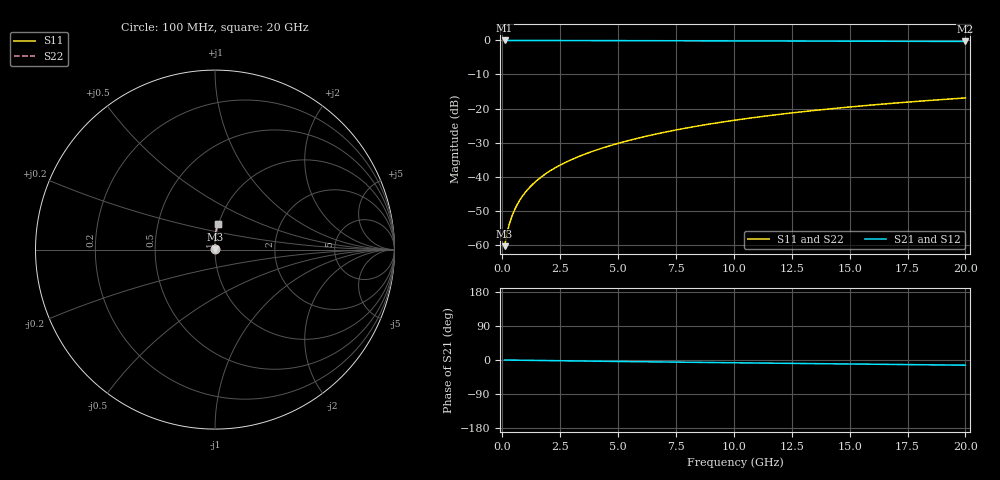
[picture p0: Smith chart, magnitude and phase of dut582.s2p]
! Touchstone file exported from HFSS 2024.1.0
!  File:  C:/UserFiles/LocalFiles/RDL_TSV_Batchsim/temp_RDL_top_582_1779682137.aedt
!  Generated:  12:11:06 PM May 25, 2026
!  Design:  RDL_top
!  Project:  temp_RDL_top_582_1779682137
!  Setup:  Setup1
!  Solution:  Sweep
! Variables:
!  dtsv = 10.80580581um
!  hbump = 3um
!  htsv = 90.43um
!  ldown = 100um
!  lrdl = 168.06um
!  p = 40
!  p1 = 53.16um
!  rhole = 1um
!  t = 450um
!  tdown = 3.915915916um
!  trdl = 4.45um
!  wdown = 15.38538539um
!  wrdl = 26.23um
# GHz S MA R 50.000000
! Terminal data exported
! Port[1] = Box2_T1
! Port[2] = Box2_T2
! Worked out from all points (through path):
!   200 points, 100 MHz to 20 GHz, reference 50 ohm
!   highest |S21| = -0.01 dB at 100 MHz (marker M1); lowest = -0.3 dB at 20 GHz (marker M2)
!   group delay of S21, straight-line fit = 1.87 ps
!   lowest |S11| = -60.4 dB at 100 MHz (marker M3), VSWR 1.00, Z = 50.1 + j0.0645 ohm
!   |S11| at or under -10 dB: start of sweep to end of sweep
!   |S22| runs from -60.4 to -16.9 dB; largest |S21 - S12| = 2.5e-15
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0.1  0.0009519 42.6  0.9993 -0.1  0.9993 -0.1  0.0009519 42.6
! Gamma 0 0 0 0
! Port Impedance 50 0 50 0
0.2  0.001455 59.2  0.9992 -0.2  0.9992 -0.2  0.001455 59.2
0.3  0.001988 67.0  0.9992 -0.2  0.9992 -0.2  0.001988 67.0
0.4  0.00253 71.8  0.9991 -0.3  0.9991 -0.3  0.00253 71.8
0.5  0.00308 75.0  0.9991 -0.4  0.9991 -0.4  0.00308 75.0
0.6  0.003636 77.4  0.999 -0.5  0.999 -0.5  0.003636 77.4
0.8  0.004765 80.6  0.9989 -0.6  0.9989 -0.6  0.004765 80.6
1.1  0.006484 83.6  0.9988 -0.9  0.9988 -0.9  0.006484 83.6
1.5  0.00881 85.9  0.9984 -1.2  0.9984 -1.2  0.00881 85.9
1.8  0.01058 87.1  0.9982 -1.4  0.9982 -1.4  0.01058 87.1
2.1  0.01236 88.1  0.9978 -1.7  0.9978 -1.7  0.01236 88.1
2.7  0.01599 89.4  0.9971 -2.2  0.9971 -2.2  0.01599 89.4
3.5  0.02098 90.6  0.9958 -2.8  0.9958 -2.8  0.02098 90.6
4.2  0.02549 91.3  0.9946 -3.3  0.9946 -3.3  0.02549 91.3
5  0.0308 91.8  0.9931 -3.9  0.9931 -3.9  0.0308 91.8
6.8  0.04336 92.0  0.9895 -5.2  0.9895 -5.2  0.04336 92.0
8.4  0.05507 91.5  0.9864 -6.2  0.9864 -6.2  0.05507 91.5
10.1  0.06786 90.6  0.9831 -7.4  0.9831 -7.4  0.06786 90.6
11.7  0.08007 89.4  0.9802 -8.4  0.9802 -8.4  0.08006 89.4
13.4  0.09309 88.1  0.9773 -9.5  0.9773 -9.5  0.09309 88.1
16.7  0.1183 85.3  0.9719 -11.6  0.9719 -11.6  0.1183 85.3
20  0.1431 82.6  0.9665 -13.7  0.9665 -13.7  0.1431 82.6
